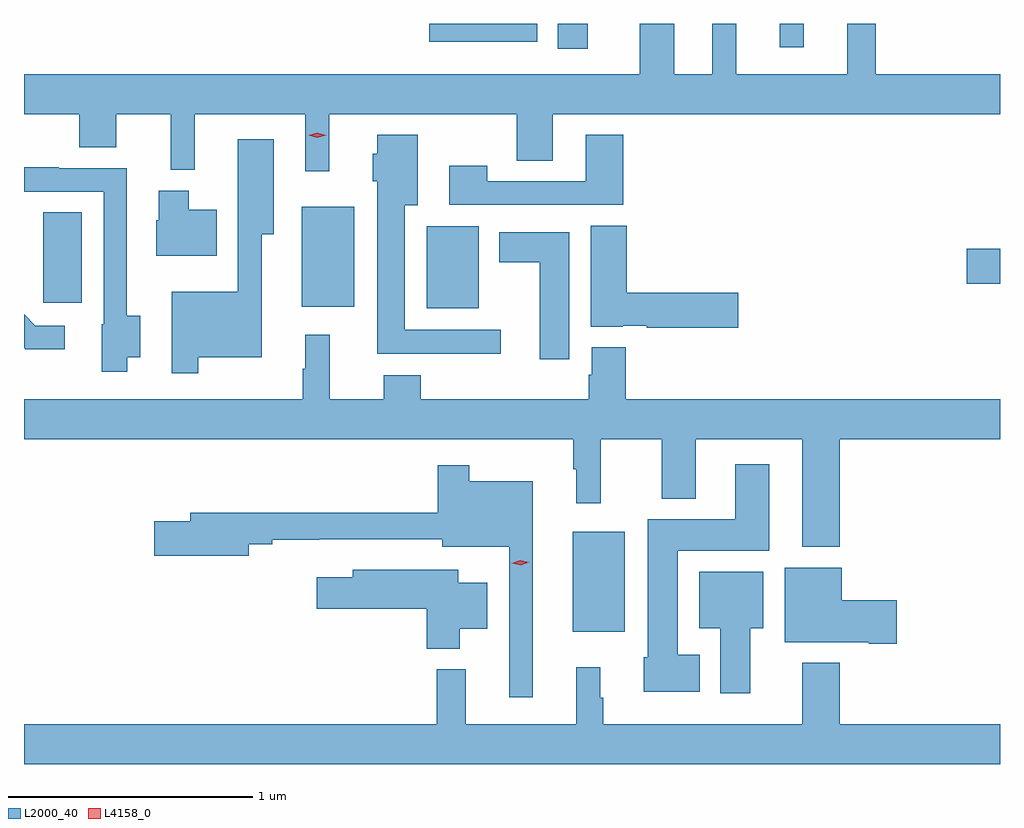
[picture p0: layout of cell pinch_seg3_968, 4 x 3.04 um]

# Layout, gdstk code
import gdstk
lib = gdstk.Library(unit=1e-6, precision=1e-09)
def R(c, l, rs):  # rectangles x0, y0, x1, y1
    for r in rs: c.add(gdstk.rectangle(r[:2], r[2:], *l))
def P(c, l, *ps):  # polygons
    for p in ps: c.add(gdstk.Polygon(p, *l))
L2000_40 = (2000, 40)
L4158_0 = (4158, 0)

pinch_seg3_968 = lib.new_cell('pinch_seg3_968')
R(pinch_seg3_968, L2000_40, [(414.137,734.759,414.352,735.169), (413.54,736.085,413.752,736.42), (413.027,736.091,413.242,736.501), (411.968,736.107,412.126,736.478), (415.752,736.186,415.889,736.328), (414.077,737.148,414.199,737.251), (414.987,737.154,415.084,737.251), (413.55,737.177,413.992,737.251)])
P(pinch_seg3_968, L2000_40, [(413.14,736.88),(413.908,736.88),(413.908,736.69),(414.055,736.69),(414.055,736.88),(415.889,736.88),(415.889,737.044),(415.379,737.044),(415.379,737.251),(415.262,737.251),(415.262,737.044),(414.809,737.044),(414.809,737.251),(414.71,737.251),(414.71,737.044),(414.553,737.044),(414.553,737.251),(414.413,737.251),(414.413,737.044),(411.889,737.044),(411.889,736.88),(412.115,736.88),(412.115,736.744),(412.267,736.744),(412.267,736.88),(412.49,736.88),(412.49,736.652),(412.588,736.652),(412.588,736.88),(413.042,736.88),(413.042,736.647),(413.14,736.647)],
  [(414.344,736.795),(414.191,736.795),(414.191,736.605),(413.787,736.605),(413.787,736.669),(413.631,736.669),(413.631,736.509),(414.344,736.509)],
  [(413.842,735.996),(413.449,735.996),(413.449,736.508),(413.503,736.508),(413.503,736.795),(413.336,736.795),(413.336,736.719),(413.318,736.719),(413.318,736.605),(413.336,736.605),(413.336,735.899),(413.842,735.899)],
  [(412.603,735.884),(412.864,735.884),(412.864,736.388),(412.912,736.388),(412.912,736.777),(412.766,736.777),(412.766,736.153),(412.494,736.153),(412.494,735.819),(412.603,735.819)],
  [(412.313,735.884),(412.366,735.884),(412.366,736.055),(412.311,736.055),(412.311,736.659),(412.031,736.659),(412.031,736.662),(411.889,736.662),(411.889,736.563),(412.215,736.563),(412.215,736.02),(412.208,736.02),(412.208,735.824),(412.313,735.824)],
  [(412.678,736.489),(412.564,736.489),(412.564,736.567),(412.442,736.567),(412.442,736.446),(412.43,736.446),(412.43,736.301),(412.678,736.301)],
  [(414.817,736.148),(414.359,736.148),(414.359,736.424),(414.212,736.424),(414.212,736.01),(414.342,736.01),(414.342,736.013),(414.442,736.013),(414.442,736.006),(414.817,736.006)],
  [(414.124,736.396),(413.837,736.396),(413.837,736.274),(414.002,736.274),(414.002,735.876),(414.124,735.876)],
  [(412.057,736.014),(411.936,736.014),(411.889,736.061),(411.889,735.923),(411.895,735.917),(412.057,735.917)],
  [(415.232,735.548),(415.889,735.548),(415.889,735.712),(414.356,735.712),(414.356,735.925),(414.215,735.925),(414.215,735.813),(414.203,735.813),(414.203,735.712),(413.516,735.712),(413.516,735.811),(413.363,735.811),(413.363,735.712),(413.142,735.712),(413.142,735.976),(413.042,735.976),(413.042,735.836),(413.031,735.836),(413.031,735.712),(411.889,735.712),(411.889,735.548),(414.141,735.548),(414.141,735.425),(414.152,735.425),(414.152,735.285),(414.252,735.285),(414.252,735.548),(414.503,735.548),(414.503,735.305),(414.643,735.305),(414.643,735.548),(415.079,735.548),(415.079,735.107),(415.232,735.107)],
  [(414.658,734.665),(414.568,734.665),(414.568,735.092),(414.943,735.092),(414.943,735.445),(414.803,735.445),(414.803,735.22),(414.446,735.22),(414.446,734.655),(414.428,734.655),(414.428,734.513),(414.658,734.513)],
  [(413.974,735.376),(413.713,735.376),(413.713,735.442),(413.584,735.442),(413.584,735.247),(412.571,735.247),(412.571,735.213),(412.422,735.213),(412.422,735.071),(412.81,735.071),(412.81,735.118),(412.906,735.118),(412.906,735.137),(413.1,735.137),(413.1,735.138),(413.603,735.138),(413.603,735.107),(413.877,735.107),(413.877,734.49),(413.974,734.49)],
  [(415.465,734.888),(415.24,734.888),(415.24,735.022),(415.007,735.022),(415.007,734.717),(415.352,734.717),(415.352,734.71),(415.465,734.71)],
  [(413.674,734.771),(413.788,734.771),(413.788,734.959),(413.668,734.959),(413.668,735.013),(413.237,735.013),(413.237,734.983),(413.088,734.983),(413.088,734.854),(413.54,734.854),(413.54,734.69),(413.674,734.69)],
  [(414.865,734.774),(414.919,734.774),(414.919,735.004),(414.656,735.004),(414.656,734.774),(414.743,734.774),(414.743,734.508),(414.865,734.508)],
  [(415.889,734.38),(415.232,734.38),(415.232,734.632),(415.079,734.632),(415.079,734.38),(414.262,734.38),(414.262,734.489),(414.25,734.489),(414.25,734.614),(414.152,734.614),(414.152,734.38),(413.699,734.38),(413.699,734.605),(413.581,734.605),(413.581,734.38),(411.889,734.38),(411.889,734.216),(415.889,734.216)])
P(pinch_seg3_968, L4158_0, [(413.924,735.032),(413.888,735.039),(413.887,735.039),(413.888,735.039),(413.922,735.052),(413.958,735.044),(413.959,735.044),(413.958,735.044)],
  [(413.091,736.784),(413.055,736.793),(413.055,736.794),(413.055,736.794),(413.091,736.804),(413.126,736.794),(413.127,736.794),(413.126,736.793)])

lib.write_gds('pinch_seg3_968.gds')
